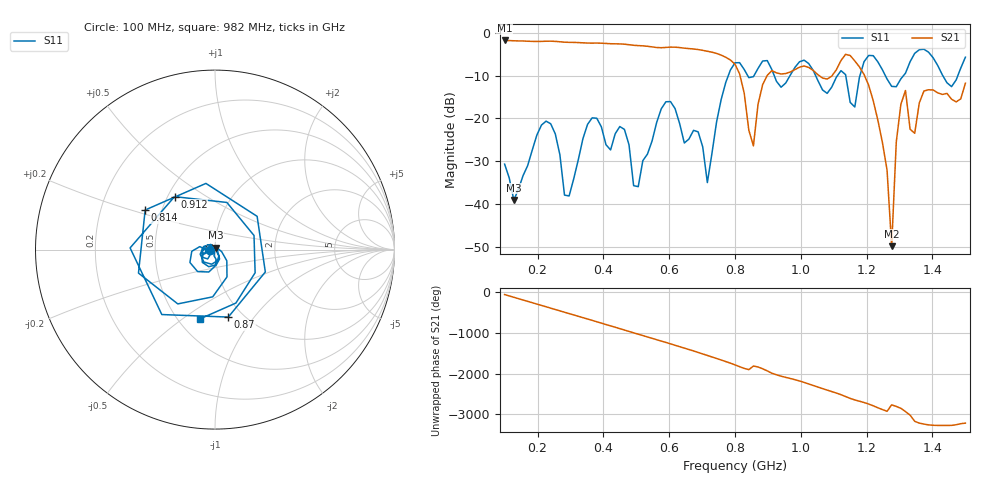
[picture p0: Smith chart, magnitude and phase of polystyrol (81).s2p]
! NanoVNA-App
! Date: 2025-09-25 15:30:31
! Start: 100MHz Stop: 1,5GHz Points: 101
! S-Parameter data: F S11 S21 S12 S22
# Hz S RI R 50
!  Frequency  S11_Real  S11_Imag  S21_Real  S21_Imag  S12_Real  S12_Imag  S22_Real  S22_Imag
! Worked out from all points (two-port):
!   101 points, 100 MHz to 1.5 GHz, reference 50 ohm
!   highest |S21| = -1.80 dB at 100 MHz (marker M1); lowest = -49.9 dB at 1.276 GHz (marker M2)
!   |S21| within 3 dB of the highest: start of sweep to 742.9 MHz
!   lowest |S11| = -39.1 dB at 128 MHz (marker M3), VSWR 1.02, Z = 50.3 + j1.06 ohm
!   |S11| at or under -10 dB: start of sweep to 779.7 MHz; 1.045 GHz to 1.111 GHz (66.6 MHz wide, 6.18 % of centre); 1.257 GHz to 1.312 GHz (55.4 MHz wide, 4.31 % of centre) (the widest 3 of 7)
!   S12 and S22 are empty: the file has one direction only
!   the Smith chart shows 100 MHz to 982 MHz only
!   S11 on the Smith chart (normalised r, x): 100 MHz: 0.94, -0.01; 814 MHz: 0.40, +0.22; 870 MHz: 0.85, -0.75; 912 MHz: 0.54, +0.37; 982 MHz: 0.64, -0.58
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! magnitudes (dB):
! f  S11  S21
! 100 MHz  -30.7  -1.8
! 128 MHz  -39.1  -1.9
! 212 MHz  -21.6  -2.0
! 282 MHz  -37.9  -2.2
! 338 MHz  -24.7  -2.4
! 464 MHz  -22.6  -2.7
! 506 MHz  -36.0  -3.0
! 576 MHz  -17.8  -3.5
! 716 MHz  -35.0  -4.3
! 800 MHz  -7.0  -7.4
! 814 MHz  -7.0  -9.6
! 856 MHz  -10.3  -26.4
! 870 MHz  -8.3  -16.7
! 912 MHz  -8.6  -8.8
! 982 MHz  -8.1  -8.6
! 1.038 GHz  -8.8  -8.8
! 1.192 GHz  -6.8  -9.7
! 1.262 GHz  -10.8  -32.1
! 1.276 GHz  -12.5  -49.9
! 1.29 GHz  -12.6  -25.5
! 1.318 GHz  -9.4  -13.5
! 1.5 GHz  -5.7  -11.8
